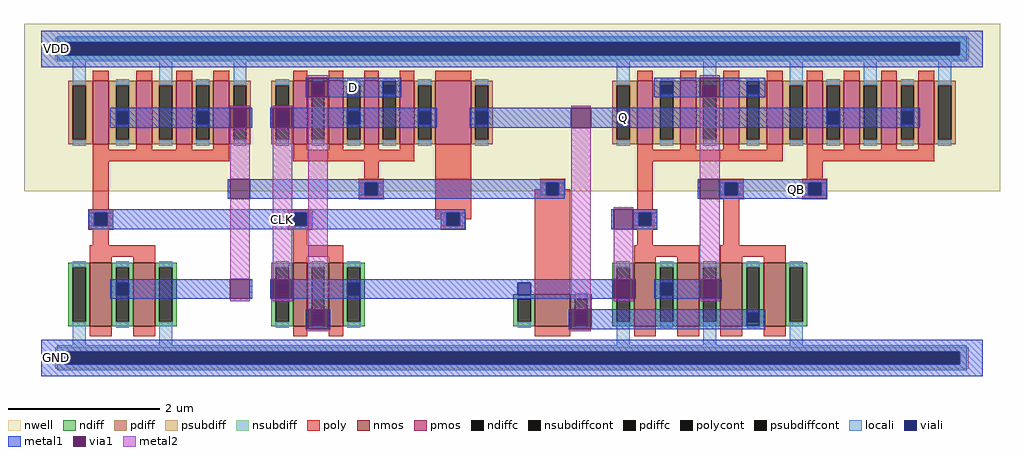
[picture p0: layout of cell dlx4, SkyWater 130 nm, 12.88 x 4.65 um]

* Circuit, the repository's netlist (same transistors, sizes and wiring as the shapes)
** sch_path: /foss/designs/dlx4.sch
.subckt dlx4 D VDD GND CLK QB Q
*.PININFO D:I VDD:B GND:B CLK:I QB:O Q:O
XM1 D CLKB net1 VDD sky130_fd_pr__pfet_01v8 L=0.19 W=3.36 nf=4
XM2 D CLK net1 GND sky130_fd_pr__nfet_01v8 L=0.19 W=1.68 nf=2
XM3 CLKB CLK VDD VDD sky130_fd_pr__pfet_01v8 L=0.21 W=3.36 nf=4
XM4 CLKB CLK GND GND sky130_fd_pr__nfet_01v8 L=0.29 W=1.68 nf=2
XM9 QB net1 VDD VDD sky130_fd_pr__pfet_01v8 L=0.21 W=3.36 nf=4
XM8 QB net1 GND GND sky130_fd_pr__nfet_01v8 L=0.29 W=1.68 nf=2
XM5 Q QB VDD VDD sky130_fd_pr__pfet_01v8 L=0.21 W=3.36 nf=4
XM6 Q QB GND GND sky130_fd_pr__nfet_01v8 L=0.29 W=1.68 nf=2
XM7 net1 CLK Q VDD sky130_fd_pr__pfet_01v8 L=0.47 W=0.84 nf=1
XM10 net1 CLKB Q GND sky130_fd_pr__nfet_01v8 L=0.47 W=0.42 nf=1
.ends

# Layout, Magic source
magic
tech sky130A
magscale 1 2
<< nwell >>
rect -46 440 2530 882
<< nmos >>
rect 128 84 186 252
rect 242 84 300 252
rect 664 84 702 252
rect 758 84 796 252
rect 1302 84 1396 168
rect 1564 84 1622 252
rect 1678 84 1736 252
rect 1792 84 1850 252
rect 1906 84 1964 252
<< pmos >>
rect 136 564 178 732
rect 250 564 292 732
rect 356 564 398 732
rect 454 564 496 732
rect 664 564 702 732
rect 758 564 796 732
rect 852 564 890 732
rect 946 564 984 732
rect 1040 564 1134 732
rect 1572 564 1614 732
rect 1686 564 1728 732
rect 1800 564 1842 732
rect 1914 564 1956 732
rect 2020 564 2062 732
rect 2118 564 2160 732
rect 2216 564 2258 732
rect 2314 564 2356 732
<< ndiff >>
rect 71 240 128 252
rect 71 96 83 240
rect 117 96 128 240
rect 71 84 128 96
rect 186 240 242 252
rect 186 96 197 240
rect 231 96 242 240
rect 186 84 242 96
rect 300 240 357 252
rect 300 96 311 240
rect 345 96 357 240
rect 300 84 357 96
rect 607 240 664 252
rect 607 96 619 240
rect 653 96 664 240
rect 607 84 664 96
rect 702 240 758 252
rect 702 96 713 240
rect 747 96 758 240
rect 702 84 758 96
rect 796 240 853 252
rect 796 96 807 240
rect 841 96 853 240
rect 1507 240 1564 252
rect 796 84 853 96
rect 1245 156 1302 168
rect 1245 96 1257 156
rect 1291 96 1302 156
rect 1245 84 1302 96
rect 1396 156 1453 168
rect 1396 96 1407 156
rect 1441 96 1453 156
rect 1396 84 1453 96
rect 1507 96 1519 240
rect 1553 96 1564 240
rect 1507 84 1564 96
rect 1622 240 1678 252
rect 1622 96 1633 240
rect 1667 96 1678 240
rect 1622 84 1678 96
rect 1736 240 1792 252
rect 1736 96 1747 240
rect 1781 96 1792 240
rect 1736 84 1792 96
rect 1850 240 1906 252
rect 1850 96 1861 240
rect 1895 96 1906 240
rect 1850 84 1906 96
rect 1964 240 2021 252
rect 1964 96 1975 240
rect 2009 96 2021 240
rect 1964 84 2021 96
<< pdiff >>
rect 71 720 136 732
rect 71 576 83 720
rect 117 576 136 720
rect 71 564 136 576
rect 178 720 250 732
rect 178 576 197 720
rect 231 576 250 720
rect 178 564 250 576
rect 292 720 356 732
rect 292 576 311 720
rect 345 576 356 720
rect 292 564 356 576
rect 398 720 454 732
rect 398 576 409 720
rect 443 576 454 720
rect 398 564 454 576
rect 496 720 553 732
rect 496 576 507 720
rect 541 576 553 720
rect 496 564 553 576
rect 607 720 664 732
rect 607 576 619 720
rect 653 576 664 720
rect 607 564 664 576
rect 702 720 758 732
rect 702 576 713 720
rect 747 576 758 720
rect 702 564 758 576
rect 796 720 852 732
rect 796 576 807 720
rect 841 576 852 720
rect 796 564 852 576
rect 890 720 946 732
rect 890 576 901 720
rect 935 576 946 720
rect 890 564 946 576
rect 984 720 1040 732
rect 984 576 995 720
rect 1029 576 1040 720
rect 984 564 1040 576
rect 1134 720 1191 732
rect 1134 576 1145 720
rect 1179 576 1191 720
rect 1134 564 1191 576
rect 1507 720 1572 732
rect 1507 576 1519 720
rect 1553 576 1572 720
rect 1507 564 1572 576
rect 1614 720 1686 732
rect 1614 576 1633 720
rect 1667 576 1686 720
rect 1614 564 1686 576
rect 1728 720 1800 732
rect 1728 576 1747 720
rect 1781 576 1800 720
rect 1728 564 1800 576
rect 1842 720 1914 732
rect 1842 576 1861 720
rect 1895 576 1914 720
rect 1842 564 1914 576
rect 1956 720 2020 732
rect 1956 576 1975 720
rect 2009 576 2020 720
rect 1956 564 2020 576
rect 2062 720 2118 732
rect 2062 576 2073 720
rect 2107 576 2118 720
rect 2062 564 2118 576
rect 2160 720 2216 732
rect 2160 576 2171 720
rect 2205 576 2216 720
rect 2160 564 2216 576
rect 2258 720 2314 732
rect 2258 576 2269 720
rect 2303 576 2314 720
rect 2258 564 2314 576
rect 2356 720 2413 732
rect 2356 576 2367 720
rect 2401 576 2413 720
rect 2356 564 2413 576
<< ndiffc >>
rect 83 96 117 240
rect 197 96 231 240
rect 311 96 345 240
rect 619 96 653 240
rect 713 96 747 240
rect 807 96 841 240
rect 1257 96 1291 156
rect 1407 96 1441 156
rect 1519 96 1553 240
rect 1633 96 1667 240
rect 1747 96 1781 240
rect 1861 96 1895 240
rect 1975 96 2009 240
<< pdiffc >>
rect 83 576 117 720
rect 197 576 231 720
rect 311 576 345 720
rect 409 576 443 720
rect 507 576 541 720
rect 619 576 653 720
rect 713 576 747 720
rect 807 576 841 720
rect 901 576 935 720
rect 995 576 1029 720
rect 1145 576 1179 720
rect 1519 576 1553 720
rect 1633 576 1667 720
rect 1747 576 1781 720
rect 1861 576 1895 720
rect 1975 576 2009 720
rect 2073 576 2107 720
rect 2171 576 2205 720
rect 2269 576 2303 720
rect 2367 576 2401 720
<< psubdiff >>
rect 36 17 2448 29
rect 36 -17 60 17
rect 2424 -17 2448 17
rect 36 -29 2448 -17
<< nsubdiff >>
rect 36 833 2448 845
rect 36 799 60 833
rect 2424 799 2448 833
rect 36 787 2448 799
<< psubdiffcont >>
rect 60 -17 2424 17
<< nsubdiffcont >>
rect 60 799 2424 833
<< poly >>
rect 136 732 178 758
rect 250 732 292 758
rect 356 732 398 758
rect 454 732 496 758
rect 664 732 702 758
rect 758 732 796 758
rect 852 732 890 758
rect 946 732 984 758
rect 1040 732 1134 758
rect 1572 732 1614 758
rect 1686 732 1728 758
rect 1800 732 1842 758
rect 1914 732 1956 758
rect 2020 732 2062 758
rect 2118 732 2160 758
rect 2216 732 2258 758
rect 2314 732 2356 758
rect 136 549 178 564
rect 250 549 292 564
rect 356 549 398 564
rect 454 549 496 564
rect 136 519 496 549
rect 664 549 702 564
rect 758 549 796 564
rect 852 549 890 564
rect 946 549 984 564
rect 664 519 984 549
rect 136 393 178 519
rect 852 473 890 519
rect 838 463 904 473
rect 838 429 854 463
rect 888 429 904 463
rect 838 419 904 429
rect 124 383 190 393
rect 124 349 140 383
rect 174 349 190 383
rect 124 339 190 349
rect 650 383 716 393
rect 650 349 666 383
rect 700 349 716 383
rect 1040 383 1134 564
rect 1572 549 1614 564
rect 1686 549 1728 564
rect 1800 549 1842 564
rect 1914 549 1956 564
rect 1572 519 1956 549
rect 2020 549 2062 564
rect 2118 549 2160 564
rect 2216 549 2258 564
rect 2314 549 2356 564
rect 2020 519 2356 549
rect 1316 463 1382 473
rect 1316 446 1332 463
rect 1040 366 1070 383
rect 650 339 716 349
rect 1054 349 1070 366
rect 1104 366 1134 383
rect 1302 429 1332 446
rect 1366 446 1382 463
rect 1366 429 1396 446
rect 1104 349 1120 366
rect 1054 339 1120 349
rect 136 297 178 339
rect 664 297 702 339
rect 128 267 300 297
rect 128 252 186 267
rect 242 252 300 267
rect 664 267 796 297
rect 664 252 702 267
rect 758 252 796 267
rect 1302 168 1396 429
rect 1572 393 1614 519
rect 2020 473 2062 519
rect 1788 463 1854 473
rect 1788 429 1804 463
rect 1838 429 1854 463
rect 1788 419 1854 429
rect 2008 463 2074 473
rect 2008 429 2024 463
rect 2058 429 2074 463
rect 2008 419 2074 429
rect 1560 383 1626 393
rect 1560 349 1576 383
rect 1610 349 1626 383
rect 1560 339 1626 349
rect 1572 297 1614 339
rect 1800 297 1842 419
rect 1564 267 1736 297
rect 1564 252 1622 267
rect 1678 252 1736 267
rect 1792 267 1964 297
rect 1792 252 1850 267
rect 1906 252 1964 267
rect 128 58 186 84
rect 242 58 300 84
rect 664 58 702 84
rect 758 58 796 84
rect 1302 58 1396 84
rect 1564 58 1622 84
rect 1678 58 1736 84
rect 1792 58 1850 84
rect 1906 58 1964 84
<< polycont >>
rect 854 429 888 463
rect 140 349 174 383
rect 666 349 700 383
rect 1070 349 1104 383
rect 1332 429 1366 463
rect 1804 429 1838 463
rect 2024 429 2058 463
rect 1576 349 1610 383
<< locali >>
rect 42 833 2442 849
rect 42 799 60 833
rect 2424 799 2442 833
rect 42 783 2442 799
rect 83 720 117 783
rect 83 560 117 576
rect 197 720 231 736
rect 197 560 231 576
rect 311 720 345 783
rect 311 560 345 576
rect 409 720 443 736
rect 409 560 443 576
rect 507 720 541 783
rect 507 560 541 576
rect 619 720 653 736
rect 619 560 653 576
rect 713 731 747 736
rect 713 560 747 576
rect 807 720 841 736
rect 807 560 841 576
rect 901 731 935 736
rect 901 560 935 576
rect 995 720 1029 736
rect 995 560 1029 576
rect 1145 720 1179 736
rect 1145 560 1179 576
rect 1519 720 1553 783
rect 1519 560 1553 576
rect 1633 731 1667 736
rect 1633 560 1667 576
rect 1747 720 1781 783
rect 1747 560 1781 576
rect 1861 731 1895 736
rect 1861 560 1895 576
rect 1975 720 2009 783
rect 1975 560 2009 576
rect 2073 720 2107 736
rect 2073 560 2107 576
rect 2171 720 2205 783
rect 2171 560 2205 576
rect 2269 720 2303 736
rect 2269 560 2303 576
rect 2367 720 2401 783
rect 2367 560 2401 576
rect 838 429 854 463
rect 888 429 904 463
rect 1316 429 1332 463
rect 1366 429 1382 463
rect 1788 429 1804 463
rect 1838 429 1854 463
rect 2008 429 2024 463
rect 2058 429 2074 463
rect 124 349 140 383
rect 174 349 190 383
rect 650 349 666 383
rect 700 349 716 383
rect 1054 349 1070 383
rect 1104 349 1120 383
rect 1560 349 1576 383
rect 1610 349 1626 383
rect 83 240 117 256
rect 83 33 117 96
rect 197 240 231 256
rect 197 80 231 96
rect 311 240 345 256
rect 311 33 345 96
rect 619 240 653 256
rect 619 80 653 96
rect 713 240 747 256
rect 713 80 747 85
rect 807 240 841 256
rect 1519 240 1553 256
rect 807 80 841 96
rect 1257 156 1291 165
rect 1257 80 1291 96
rect 1407 156 1441 172
rect 1407 80 1441 85
rect 1519 33 1553 96
rect 1633 240 1667 256
rect 1633 80 1667 96
rect 1747 240 1781 256
rect 1747 33 1781 96
rect 1861 240 1895 256
rect 1861 80 1895 85
rect 1975 240 2009 256
rect 1975 33 2009 96
rect 42 17 2442 33
rect 42 -17 60 17
rect 2424 -17 2442 17
rect 42 -33 2442 -17
<< viali >>
rect 60 799 2424 833
rect 197 617 231 651
rect 409 617 443 651
rect 619 617 653 651
rect 713 720 747 731
rect 713 697 747 720
rect 807 617 841 651
rect 901 720 935 731
rect 901 697 935 720
rect 995 617 1029 651
rect 1145 617 1179 651
rect 1633 720 1667 731
rect 1633 697 1667 720
rect 1861 720 1895 731
rect 1861 697 1895 720
rect 2073 617 2107 651
rect 2269 617 2303 651
rect 854 429 888 463
rect 1332 429 1366 463
rect 1804 429 1838 463
rect 2024 429 2058 463
rect 140 349 174 383
rect 666 349 700 383
rect 1070 349 1104 383
rect 1576 349 1610 383
rect 197 165 231 199
rect 619 165 653 199
rect 713 96 747 119
rect 713 85 747 96
rect 807 165 841 199
rect 1257 165 1291 199
rect 1407 96 1441 119
rect 1407 85 1441 96
rect 1633 165 1667 199
rect 1861 96 1895 119
rect 1861 85 1895 96
rect 60 -17 2424 17
<< metal1 >>
rect 0 833 2484 864
rect 0 799 60 833
rect 2424 799 2484 833
rect 0 768 2484 799
rect 698 688 704 740
rect 756 731 950 740
rect 756 697 901 731
rect 935 697 950 731
rect 756 688 950 697
rect 1618 731 1738 740
rect 1618 697 1633 731
rect 1667 697 1738 731
rect 1618 688 1738 697
rect 1790 731 1910 740
rect 1790 697 1861 731
rect 1895 697 1910 731
rect 1790 688 1910 697
rect 182 651 498 660
rect 182 617 197 651
rect 231 617 409 651
rect 443 617 498 651
rect 182 608 498 617
rect 550 608 556 660
rect 604 608 610 660
rect 662 651 1044 660
rect 662 617 807 651
rect 841 617 995 651
rect 1029 617 1044 651
rect 662 608 1044 617
rect 1130 651 1398 660
rect 1130 617 1145 651
rect 1179 617 1398 651
rect 1130 608 1398 617
rect 1450 651 2318 660
rect 1450 617 2073 651
rect 2107 617 2269 651
rect 2303 617 2318 651
rect 1450 608 2318 617
rect 492 420 498 472
rect 550 463 1381 472
rect 550 429 854 463
rect 888 429 1332 463
rect 1366 429 1381 463
rect 550 420 1381 429
rect 1732 420 1738 472
rect 1790 463 2073 472
rect 1790 429 1804 463
rect 1838 429 2024 463
rect 2058 429 2073 463
rect 1790 420 2073 429
rect 125 383 1119 392
rect 125 349 140 383
rect 174 349 666 383
rect 700 349 1070 383
rect 1104 349 1119 383
rect 125 340 1119 349
rect 1504 340 1510 392
rect 1562 383 1625 392
rect 1562 349 1576 383
rect 1610 349 1625 383
rect 1562 340 1625 349
rect 182 199 498 208
rect 182 165 197 199
rect 231 165 498 199
rect 182 156 498 165
rect 550 156 556 208
rect 604 156 610 208
rect 662 199 1510 208
rect 662 165 807 199
rect 841 165 1257 199
rect 1291 165 1510 199
rect 662 156 1510 165
rect 1562 156 1568 208
rect 1618 199 1738 208
rect 1618 165 1633 199
rect 1667 165 1738 199
rect 1618 156 1738 165
rect 1790 156 1796 208
rect 698 76 704 128
rect 756 76 762 128
rect 1392 76 1398 128
rect 1450 119 1910 128
rect 1450 85 1861 119
rect 1895 85 1910 119
rect 1450 76 1910 85
rect 0 17 2484 48
rect 0 -17 60 17
rect 2424 -17 2484 17
rect 0 -48 2484 -17
<< via1 >>
rect 704 731 756 740
rect 704 697 713 731
rect 713 697 747 731
rect 747 697 756 731
rect 704 688 756 697
rect 1738 688 1790 740
rect 498 608 550 660
rect 610 651 662 660
rect 610 617 619 651
rect 619 617 653 651
rect 653 617 662 651
rect 610 608 662 617
rect 1398 608 1450 660
rect 498 420 550 472
rect 1738 420 1790 472
rect 1510 340 1562 392
rect 498 156 550 208
rect 610 199 662 208
rect 610 165 619 199
rect 619 165 653 199
rect 653 165 662 199
rect 610 156 662 165
rect 1510 156 1562 208
rect 1738 156 1790 208
rect 704 119 756 128
rect 704 85 713 119
rect 713 85 747 119
rect 747 85 756 119
rect 704 76 756 85
rect 1398 119 1450 128
rect 1398 85 1407 119
rect 1407 85 1441 119
rect 1441 85 1450 119
rect 1398 76 1450 85
<< metal2 >>
rect 704 740 756 746
rect 498 660 550 666
rect 498 472 550 608
rect 498 208 550 420
rect 498 150 550 156
rect 610 660 662 666
rect 610 208 662 608
rect 610 150 662 156
rect 704 128 756 688
rect 1738 740 1790 746
rect 704 70 756 76
rect 1398 660 1450 666
rect 1398 128 1450 608
rect 1738 472 1790 688
rect 1510 392 1562 398
rect 1510 208 1562 340
rect 1510 150 1562 156
rect 1738 208 1790 420
rect 1738 150 1790 156
rect 1398 70 1450 76
<< labels >>
rlabel metal1 801 691 847 737 0 D
port 1 nsew
rlabel metal1 10 780 70 852 0 VDD
port 2 nsew
rlabel metal1 10 -36 70 36 0 GND
port 3 nsew
rlabel metal1 613 343 659 389 0 CLK
port 4 nsew
rlabel metal1 1969 423 2015 469 0 QB
port 5 nsew
rlabel metal1 1513 611 1559 657 0 Q
port 6 nsew
<< properties >>
string FIXED_BBOX 0 0 2484 816
<< end >>
